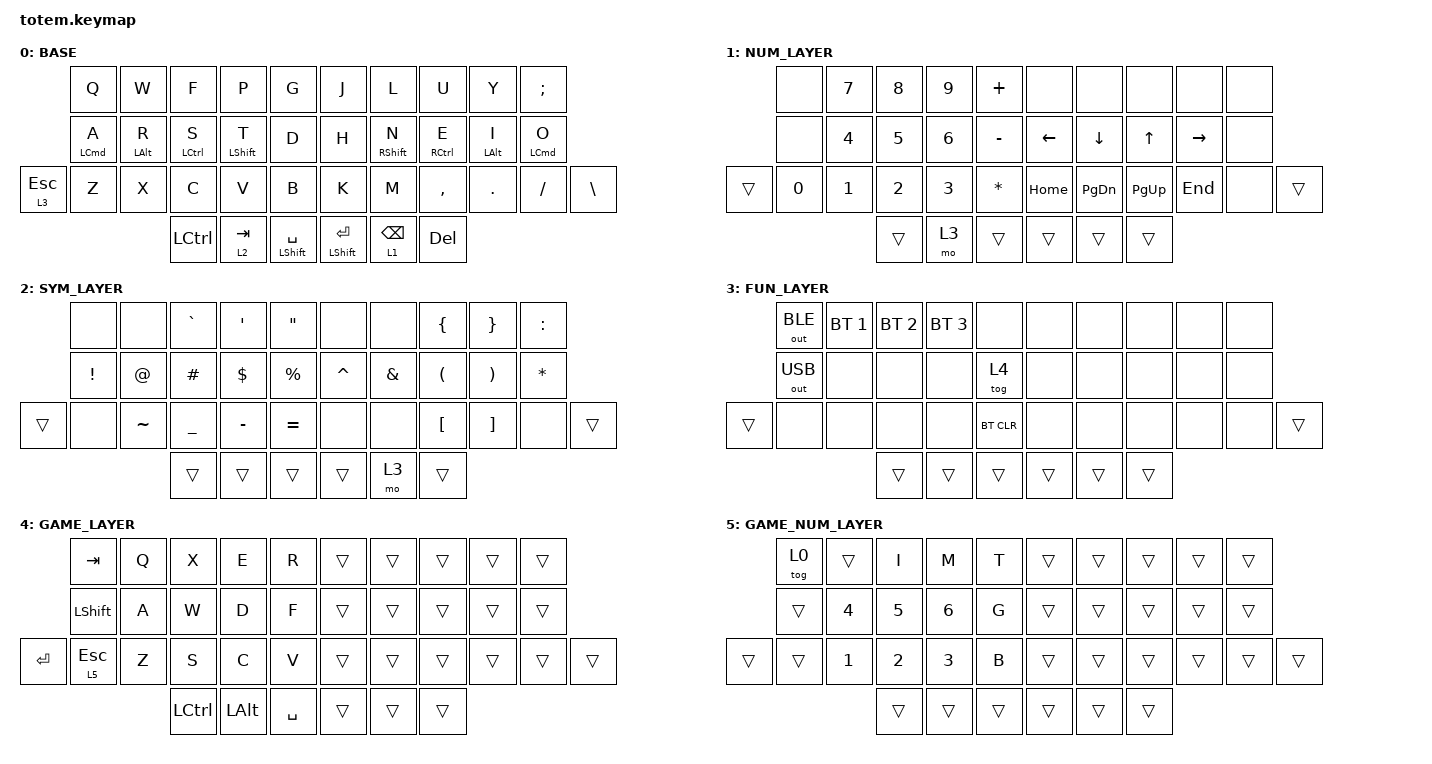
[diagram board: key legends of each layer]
//
//                                                        ▀▀▀▀▀     ▀▀▀▀▀          ▀▀█▀▀
//                                                        ▄▀▀▀▄  ▄  ▄▀▀▀▄  ▄  ▄▀▀▀▄  █  ▄▀▀▀▄
//                                                        █   █  █  █   █  █  █   █  █  █   █
//                                                         ▀▀▀   █   ▀▀▀   █   ▀▀▀   ▀   ▀▀▀
//                                                               █      ▄▄▄█▄▄▄    █   █  
//                                                               ▀      █  █  █     █▄█
//                                                             ▀▀▀▀▀    █  █  █      ▀
//                                                                      ▀  ▀  ▀
//
// ▄▄▄▄▄▄▄▄▄▄▄▄▄▄▄▄▄▄▄▄▄▄▄▄▄▄▄▄▄▄▄▄▄▄▄▄▄▄▄▄▄▄▄▄▄▄▄▄▄▄▄▄▄▄▄▄▄▄▄▄▄▄▄▄▄▄▄▄▄▄▄▄▄▄▄▄▄▄▄▄▄▄▄▄▄▄▄▄▄▄▄▄▄▄▄▄▄▄▄▄▄▄▄▄▄▄▄▄▄▄▄▄▄▄▄▄▄▄▄▄▄▄▄▄▄▄▄▄▄▄▄▄▄▄▄▄▄▄▄▄▄▄▄▄▄▄▄▄▄

#include <behaviors.dtsi>
#include <dt-bindings/zmk/bt.h>
#include <dt-bindings/zmk/keys.h>
#include <dt-bindings/zmk/outputs.h>

#define BASE 0
#define NAV  1
#define SYM  2
#define ADJ  3
#define TVP1 4
#define TVP2 5

&mt {
    quick-tap-ms = <100>;
    global-quick-tap;
    flavor = "tap-preferred";
    tapping-term-ms = <170>;
};

/ {
    combos {
        compatible = "zmk,combos";

        combo_esc {
            timeout-ms = <50>;
            key-positions = <0 1>;
            bindings = <&kp ESC>;
        };

        combo_tvp {
            timeout-ms = <100>;
            key-positions = <11 12 13>;
            bindings = <&tog 0>;
        };
    };

    macros {
        gif: gif {
            label = "giphy";
            compatible = "zmk,behavior-macro";
            #binding-cells = <0>;
            bindings =
                <&macro_press>,
                <&kp LSHFT>,
                <&macro_tap>,
                <&kp N2>,
                <&macro_release>,
                <&kp LSHFT>,
                <&macro_tap>,
                <&kp G &kp I &kp F>;
        };
    };

    behaviors {
        hr_left: hr_left {
            compatible = "zmk,behavior-hold-tap";
            label = "HR_LEFT";
            bindings = <&kp>, <&kp>;

            #binding-cells = <2>;
            tapping-term-ms = <280>;
            quick-tap-ms = <175>;
            require-prior-idle-ms = <150>;
            flavor = "balanced";
            hold-trigger-key-positions = <16 17 18 19 5 6 8 9 15 16 17 18 19 26 27 28 29 30 31 36 37 7 35>;
        };

        hr_right: hr_right {
            compatible = "zmk,behavior-hold-tap";
            label = "HR_RIGHT";
            bindings = <&kp>, <&kp>;

            #binding-cells = <2>;
            tapping-term-ms = <280>;
            quick-tap-ms = <175>;
            require-prior-idle-ms = <150>;
            flavor = "balanced";
            hold-trigger-key-positions = <0 1 2 3 4 10 11 12 13 14 20 21 22 23 24 25 32 33 34>;
        };
    };

    keymap {
        compatible = "zmk,keymap";

        // ▄▄▄▄▄▄▄▄▄▄▄▄▄▄▄▄▄▄▄▄▄▄▄▄▄▄▄▄▄▄▄▄▄▄▄▄▄▄▄▄▄▄▄▄▄▄▄▄▄▄▄▄▄▄▄▄▄▄▄▄▄▄▄▄▄▄▄▄▄▄▄▄▄▄▄▄▄▄▄▄▄▄▄▄▄▄▄▄▄▄▄▄▄▄▄▄▄▄▄▄▄▄▄▄▄▄▄▄▄▄▄▄▄▄▄▄▄▄▄▄▄▄▄▄▄▄▄▄▄▄▄▄▄▄▄▄▄▄▄▄▄▄▄▄▄▄▄▄▄

        BASE_LAYER {
            // ┏━━━━━━━━━━━━━━━━━━━━━━━━━━━━━━━━━━━━━━━┓

            label = "BASE";

            // ┗━━━━━━━━━━━━━━━━━━━━━━━━━━━━━━━━━━━━━━━┛
            //             ┏━━━━━━━━━━━┳━━━━━━━━━━━┳━━━━━━━━━━━┳━━━━━━━━━━━┳━━━━━━━━━━━┓   ┏━━━━━━━━━━━┳━━━━━━━━━━━┳━━━━━━━━━━━┳━━━━━━━━━━━┳━━━━━━━━━━━┓
            //             ┃     Q     ┃     W     ┃     F     ┃     P     ┃     G     ┃   ┃     J     ┃     L     ┃     U     ┃     Y     ┃     ;     ┃
            //             ┣━━━━━━━━━━━╋━━━━━━━━━━━╋━━━━━━━━━━━╋━━━━━━━━━━━╋━━━━━━━━━━━┫   ┣━━━━━━━━━━━╋━━━━━━━━━━━╋━━━━━━━━━━━╋━━━━━━━━━━━╋━━━━━━━━━━━┫
            //             ┃     A     ┃     R     ┃     S     ┃     T     ┃     D     ┃   ┃     H     ┃     N     ┃     E     ┃     I     ┃     O     ┃
            // ┏━━━━━━━━━━━╋━━━━━━━━━━━╋━━━━━━━━━━━╋━━━━━━━━━━━╋━━━━━━━━━━━╋━━━━━━━━━━━┫   ┣━━━━━━━━━━━╋━━━━━━━━━━━╋━━━━━━━━━━━╋━━━━━━━━━━━╋━━━━━━━━━━━╋━━━━━━━━━━━┓
            // ┃     Q     ┃     Z     ┃     X     ┃     C     ┃     V     ┃     B     ┃   ┃     K     ┃     M     ┃     ,     ┃     .     ┃     /     ┃     \     ┃
            // ┗━━━━━━━━━━━┻━━━━━━━━━━━┻━━━━━━━━━━━╋━━━━━━━━━━━╋━━━━━━━━━━━╋━━━━━━━━━━━┫   ┣━━━━━━━━━━━╋━━━━━━━━━━━╋━━━━━━━━━━━╋━━━━━━━━━━━┻━━━━━━━━━━━┻━━━━━━━━━━━┛
            //                                     ┃    DEL    ┃    TAB    ┃    SPC    ┃   ┃   ENTER   ┃           ┃   BSPC    ┃
            //                                     ┗━━━━━━━━━━━┻━━━━━━━━━━━┻━━━━━━━━━━━┛   ┗━━━━━━━━━━━┻━━━━━━━━━━━┻━━━━━━━━━━━┛

            bindings = <
              &kp Q            &kp W            &kp F             &kp P                  &kp G                   &kp J                 &kp L               &kp U              &kp Y             &kp SEMI
              &hr_left LCMD A  &hr_left LALT R  &hr_left LCTRL S  &hr_left LEFT_SHIFT T  &kp D                   &kp H                 &hr_right RSHIFT N  &hr_right RCTRL E  &hr_right LALT I  &hr_right LCMD O
&lt 3 ESCAPE  &kp Z            &kp X            &kp C             &kp V                  &kp B                   &kp K                 &kp M               &kp COMMA          &kp DOT           &kp FSLH          &kp BSLH
                                                &kp LCTRL         &lt 2 TAB              &mt LEFT_SHIFT SPACE    &mt LEFT_SHIFT ENTER  &lt 1 BACKSPACE     &kp DELETE
            >;
        };

        // ▄▄▄▄▄▄▄▄▄▄▄▄▄▄▄▄▄▄▄▄▄▄▄▄▄▄▄▄▄▄▄▄▄▄▄▄▄▄▄▄▄▄▄▄▄▄▄▄▄▄▄▄▄▄▄▄▄▄▄▄▄▄▄▄▄▄▄▄▄▄▄▄▄▄▄▄▄▄▄▄▄▄▄▄▄▄▄▄▄▄▄▄▄▄▄▄▄▄▄▄▄▄▄▄▄▄▄▄▄▄▄▄▄▄▄▄▄▄▄▄▄▄▄▄▄▄▄▄▄▄▄▄▄▄▄▄▄▄▄▄▄▄▄▄▄▄▄▄▄
        // ▄▄▄▄▄▄▄▄▄▄▄▄▄▄▄▄▄▄▄▄▄▄▄▄▄▄▄▄▄▄▄▄▄▄▄▄▄▄▄▄▄▄▄▄▄▄▄▄▄▄▄▄▄▄▄▄▄▄▄▄▄▄▄▄▄▄▄▄▄▄▄▄▄▄▄▄▄▄▄▄▄▄▄▄▄▄▄▄▄▄▄▄▄▄▄▄▄▄▄▄▄▄▄▄▄▄▄▄▄▄▄▄▄▄▄▄▄▄▄▄▄▄▄▄▄▄▄▄▄▄▄▄▄▄▄▄▄▄▄▄▄▄▄▄▄▄▄▄▄
        // ▄▄▄▄▄▄▄▄▄▄▄▄▄▄▄▄▄▄▄▄▄▄▄▄▄▄▄▄▄▄▄▄▄▄▄▄▄▄▄▄▄▄▄▄▄▄▄▄▄▄▄▄▄▄▄▄▄▄▄▄▄▄▄▄▄▄▄▄▄▄▄▄▄▄▄▄▄▄▄▄▄▄▄▄▄▄▄▄▄▄▄▄▄▄▄▄▄▄▄▄▄▄▄▄▄▄▄▄▄▄▄▄▄▄▄▄▄▄▄▄▄▄▄▄▄▄▄▄▄▄▄▄▄▄▄▄▄▄▄▄▄▄▄▄▄▄▄▄▄
        // ▄▄▄▄▄▄▄▄▄▄▄▄▄▄▄▄▄▄▄▄▄▄▄▄▄▄▄▄▄▄▄▄▄▄▄▄▄▄▄▄▄▄▄▄▄▄▄▄▄▄▄▄▄▄▄▄▄▄▄▄▄▄▄▄▄▄▄▄▄▄▄▄▄▄▄▄▄▄▄▄▄▄▄▄▄▄▄▄▄▄▄▄▄▄▄▄▄▄▄▄▄▄▄▄▄▄▄▄▄▄▄▄▄▄▄▄▄▄▄▄▄▄▄▄▄▄▄▄▄▄▄▄▄▄▄▄▄▄▄▄▄▄▄▄▄▄▄▄▄
        // ▄▄▄▄▄▄▄▄▄▄▄▄▄▄▄▄▄▄▄▄▄▄▄▄▄▄▄▄▄▄▄▄▄▄▄▄▄▄▄▄▄▄▄▄▄▄▄▄▄▄▄▄▄▄▄▄▄▄▄▄▄▄▄▄▄▄▄▄▄▄▄▄▄▄▄▄▄▄▄▄▄▄▄▄▄▄▄▄▄▄▄▄▄▄▄▄▄▄▄▄▄▄▄▄▄▄▄▄▄▄▄▄▄▄▄▄▄▄▄▄▄▄▄▄▄▄▄▄▄▄▄▄▄▄▄▄▄▄▄▄▄▄▄▄▄▄▄▄▄

        NUM_LAYER {
            bindings = <
        &none   &kp N7  &kp N8  &kp N9  &kp PLUS        &none     &none          &none        &none      &none
        &none   &kp N4  &kp N5  &kp N6  &kp MINUS       &kp LEFT  &kp DOWN       &kp UP       &kp RIGHT  &none
&trans  &kp N0  &kp N1  &kp N2  &kp N3  &kp ASTERISK    &kp HOME  &kp PAGE_DOWN  &kp PAGE_UP  &kp END    &none  &trans
                        &trans  &mo 3   &trans          &trans    &trans         &trans
            >;
        };

        SYM_LAYER {
            bindings = <
        &none            &none        &kp GRAVE       &kp SQT     &kp DOUBLE_QUOTES    &none      &none          &kp LEFT_BRACE        &kp RIGHT_BRACE        &kp COLON
        &kp EXCLAMATION  &kp AT_SIGN  &kp HASH        &kp DOLLAR  &kp PERCENT          &kp CARET  &kp AMPERSAND  &kp LEFT_PARENTHESIS  &kp RIGHT_PARENTHESIS  &kp ASTERISK
&trans  &none            &kp TILDE    &kp UNDERSCORE  &kp MINUS   &kp EQUAL            &none      &none          &kp LEFT_BRACKET      &kp RIGHT_BRACKET      &none         &trans
                                      &trans          &trans      &trans               &trans     &mo 3          &trans
            >;
        };

        FUN_LAYER {
            bindings = <
        &out OUT_BLE  &bt BT_SEL 1  &bt BT_SEL 2  &bt BT_SEL 3  &none         &none   &none   &none   &none  &none
        &out OUT_USB  &none         &none         &none         &tog 4        &none   &none   &none   &none  &none
&trans  &none         &none         &none         &none         &bt BT_CLR    &none   &none   &none   &none  &none  &trans
                                    &trans        &trans        &trans        &trans  &trans  &trans
            >;
        };

        GAME_LAYER {
            bindings = <
           &kp TAB       &kp Q  &kp X      &kp E     &kp R        &trans  &trans  &trans  &trans  &trans
           &kp LSHFT     &kp A  &kp W      &kp D     &kp F        &trans  &trans  &trans  &trans  &trans
&kp ENTER  &lt 5 ESCAPE  &kp Z  &kp S      &kp C     &kp V        &trans  &trans  &trans  &trans  &trans  &trans
                                &kp LCTRL  &kp LALT  &kp SPACE    &trans  &trans  &trans
            >;
        };

        GAME_NUM_LAYER {
            bindings = <
        &tog 0  &trans  &kp I   &kp M   &kp T     &trans  &trans  &trans  &trans  &trans
        &trans  &kp N4  &kp N5  &kp N6  &kp G     &trans  &trans  &trans  &trans  &trans
&trans  &trans  &kp N1  &kp N2  &kp N3  &kp B     &trans  &trans  &trans  &trans  &trans  &trans
                        &trans  &trans  &trans    &trans  &trans  &trans
            >;
        };
    };
};
